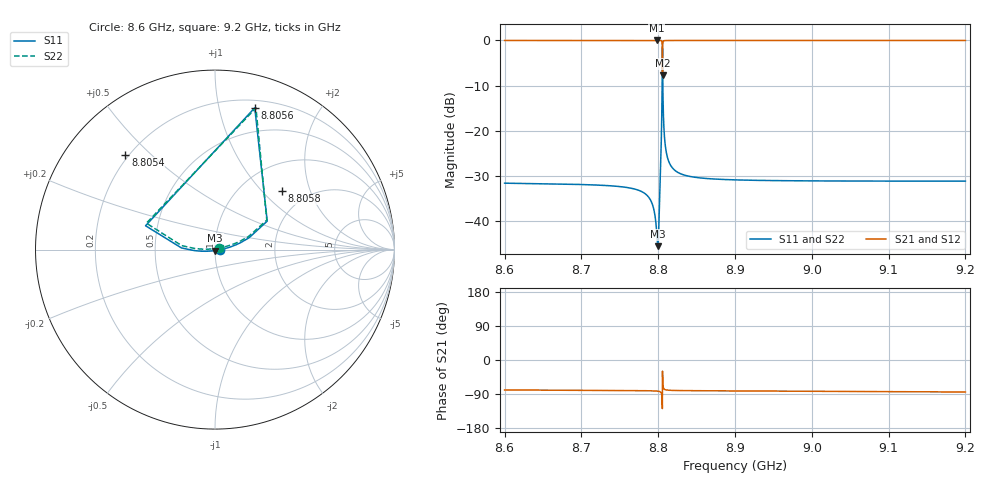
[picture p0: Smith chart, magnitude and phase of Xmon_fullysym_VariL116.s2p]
! Sonnet Data File
! From: emgraph Version : 16.52
! From Project: 171117_Xmon_fullysym
! Data is De-embedded
! Data File Written: 11/26/2017 21:44:48
!< HDATE 11/26/2017 17:24:49
!< MDATE 11/26/2017 17:24:49
!< PARAMS
!< Lj = 11.0
!< Gap = 1.0
!< Pwid = 2000.0
!< Airgap = 6.0
!< Width = 10.0
!< Lj1 = 11.6
!< END PARAMS
# GHZ S MA R 50.90000
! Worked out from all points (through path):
!   3001 points, 8.6 GHz to 9.2 GHz, reference 50.9 ohm
!   highest |S21| = 0.00 dB at 8.7982 GHz (marker M1); lowest = -7.7 dB at 8.8056 GHz (marker M2)
!   lowest |S11| = -45.5 dB at 8.7996 GHz (marker M3), VSWR 1.01, Z = 51 - j0.538 ohm
!   |S11| at or under -10 dB: start of sweep to 8.8051 GHz; 8.806 GHz to end of sweep
!   |S22| runs from -45.2 to -1.7 dB; largest |S21 - S12| = 1.4e-10
!   S11 on the Smith chart (normalised r, x): 8.6 GHz: 1.05, +0.00; 8.8054 GHz: 0.19, +0.42; 8.8056 GHz: 0.27, +1.28; 8.8058 GHz: 1.52, +1.31; 9.2 GHz: 1.06, -0.01
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8.6  0.02644 0.0  0.9996 -79.0  0.9996 -79.0  0.02644 22.0
!< P1 F=8.6 Eeff=(6.44845572 -2.9799e-5) Z0=(50.9087207 1.17006e-4) R=0.0 C=0.0
!< P2 F=8.6 Eeff=(6.44845572 -2.9799e-5) Z0=(50.9087207 1.17006e-4) R=0.0 C=0.0
8.7  0.02554 -1.5  0.9997 -79.9  0.9997 -79.9  0.02555 21.7
8.7802  0.02096 -5.4  0.9998 -81.0  0.9998 -81.0  0.02097 23.6
8.7916  0.0161 -10.5  0.9999 -81.4  0.9999 -81.4  0.01611 27.9
8.7982  0.007307 -38.6  0.9999 -82.0  0.9999 -82.0  0.007391 55.2
8.7996  0.005317 -83.0  0.9999 -82.3  0.9999 -82.3  0.005491 98.4
8.8002  0.006137 -112.4  0.9999 -82.5  0.9999 -82.5  0.006322 126.5
8.8016  0.01462 -151.8  0.9997 -83.1  0.9997 -83.1  0.01476 164.2
8.8024  0.02447 -161.3  0.9994 -83.7  0.9994 -83.7  0.02461 172.5
8.8038  0.06489 -171.8  0.9969 -86.0  0.9969 -86.0  0.06506 177.9
8.8054  0.7261 133.5  0.5834 -128.2  0.5834 -128.2  0.7271 132.2
8.8056  0.8205 74.3  0.4107 -29.4  0.4107 -29.4  0.8215 73.9
8.8058  0.4957 40.9  0.8368 -52.7  0.8368 -52.7  0.4963 41.2
8.8076  0.1018 11.2  0.9941 -76.5  0.9941 -76.5  0.1019 16.5
8.8086  0.07759 8.7  0.9967 -77.9  0.9967 -77.9  0.07763 15.9
8.8098  0.0634 6.9  0.9978 -78.8  0.9978 -78.8  0.06343 15.9
8.8124  0.04963 4.6  0.9987 -79.6  0.9987 -79.6  0.04964 16.4
8.8222  0.03633 1.4  0.9993 -80.4  0.9993 -80.4  0.03634 17.8
8.9002  0.02875 -2.3  0.9996 -81.6  0.9996 -81.6  0.02875 19.0
9.0002  0.02802 -3.7  0.9996 -82.6  0.9996 -82.6  0.02802 18.6
9.1  0.02786 -4.9  0.9996 -83.5  0.9996 -83.5  0.02786 17.9
9.2  0.02785 -6.1  0.9996 -84.4  0.9996 -84.4  0.02785 17.2
